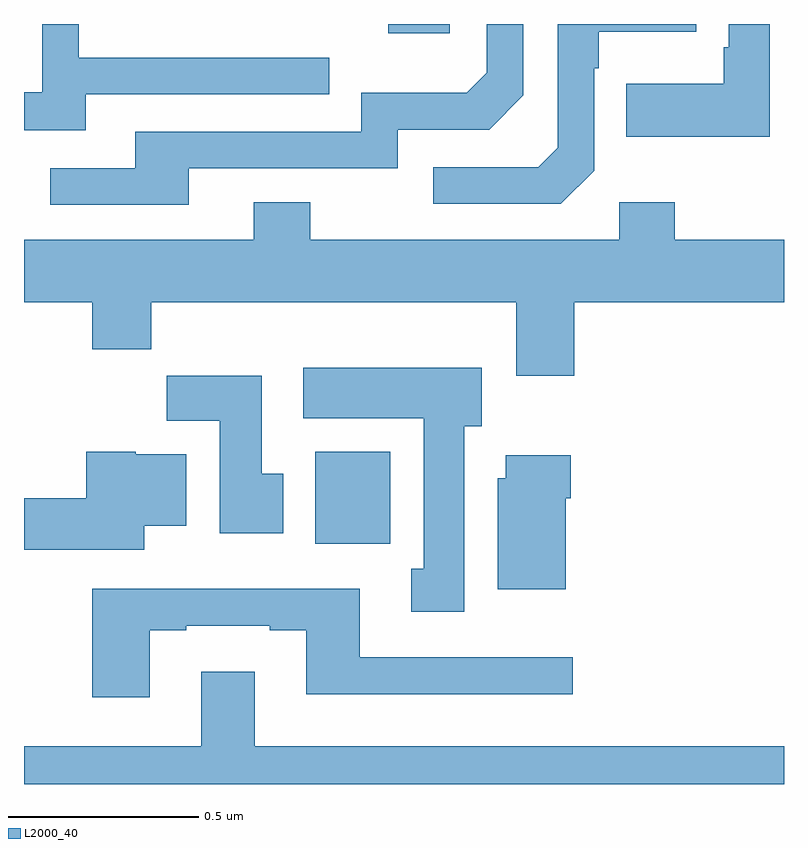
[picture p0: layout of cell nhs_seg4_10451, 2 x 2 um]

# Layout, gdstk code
import gdstk
lib = gdstk.Library(unit=1e-6, precision=1e-09)
def R(c, l, rs):  # rectangles x0, y0, x1, y1
    for r in rs: c.add(gdstk.rectangle(r[:2], r[2:], *l))
def P(c, l, *ps):  # polygons
    for p in ps: c.add(gdstk.Polygon(p, *l))
L2000_40 = (2000, 40)

nhs_seg4_10451 = lib.new_cell('nhs_seg4_10451')
R(nhs_seg4_10451, L2000_40, [(240.767,781.532,240.964,781.774), (240.959,782.876,241.12,782.9)])
P(nhs_seg4_10451, L2000_40, [(240.163,782.715),(240.803,782.715),(240.803,782.811),(240.144,782.811),(240.144,782.9),(240.048,782.9),(240.048,782.721),(240,782.721),(240,782.621),(240.163,782.621)],
  [(240.433,782.52),(240.984,782.52),(240.984,782.622),(241.224,782.622),(241.314,782.712),(241.314,782.9),(241.218,782.9),(241.218,782.772),(241.165,782.719),(240.888,782.719),(240.888,782.616),(240.293,782.616),(240.293,782.52),(240.069,782.52),(240.069,782.424),(240.433,782.424)],
  [(241.963,782.9),(241.854,782.9),(241.854,782.839),(241.842,782.839),(241.842,782.743),(241.585,782.743),(241.585,782.603),(241.963,782.603)],
  [(241.5,782.514),(241.5,782.783),(241.513,782.783),(241.513,782.879),(241.769,782.879),(241.769,782.9),(241.404,782.9),(241.404,782.574),(241.353,782.523),(241.077,782.523),(241.077,782.427),(241.413,782.427)],
  [(241.448,782.168),(242,782.168),(242,782.332),(241.713,782.332),(241.713,782.431),(241.566,782.431),(241.566,782.332),(240.753,782.332),(240.753,782.431),(240.605,782.431),(240.605,782.332),(240,782.332),(240,782.168),(240.179,782.168),(240.179,782.044),(240.335,782.044),(240.335,782.168),(241.295,782.168),(241.295,781.974),(241.448,781.974)],
  [(241.159,781.842),(241.204,781.842),(241.204,781.996),(240.735,781.996),(240.735,781.862),(241.052,781.862),(241.052,781.466),(241.019,781.466),(241.019,781.353),(241.159,781.353)],
  [(240.682,781.716),(240.625,781.716),(240.625,781.975),(240.376,781.975),(240.376,781.856),(240.515,781.856),(240.515,781.56),(240.682,781.56)],
  [(240.316,781.58),(240.427,781.58),(240.427,781.768),(240.294,781.768),(240.294,781.774),(240.164,781.774),(240.164,781.652),(240,781.652),(240,781.516),(240.316,781.516)],
  [(241.426,781.652),(241.439,781.652),(241.439,781.765),(241.268,781.765),(241.268,781.704),(241.247,781.704),(241.247,781.412),(241.426,781.412)],
  [(240.331,781.305),(240.427,781.305),(240.427,781.317),(240.647,781.317),(240.647,781.305),(240.743,781.305),(240.743,781.136),(241.444,781.136),(241.444,781.233),(240.883,781.233),(240.883,781.414),(240.179,781.414),(240.179,781.128),(240.331,781.128)],
  [(242,781),(240.607,781),(240.607,781.195),(240.467,781.195),(240.467,781),(240,781),(240,780.9),(242,780.9)])

lib.write_gds('nhs_seg4_10451.gds')
